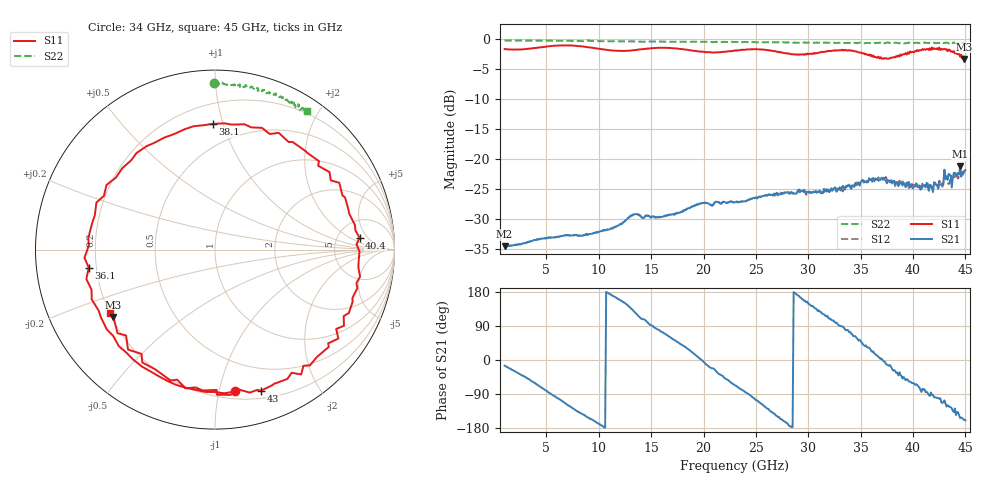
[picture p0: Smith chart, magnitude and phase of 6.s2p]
!Keysight Technologies,N5247B,MY61255062,A.19.80.06
!Date: Monday, May 18, 2026 11:55:22
!Correction: S11(Cdelta 2-Port  )
!S21(Cdelta 2-Port  )
!S12(Cdelta 2-Port  )
!S22(Cdelta 2-Port  )
!S2P File: Measurements: S11, S21, S12, S22:
# Hz S  dB  R 50
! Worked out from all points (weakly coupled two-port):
!   441 points, 1 GHz to 45 GHz, reference 50 ohm
!   highest |S21| = -21.19 dB at 44.5 GHz (marker M1); lowest = -34.5 dB at 1 GHz (marker M2)
!   lowest |S11| = -3.4 dB at 44.9 GHz (marker M3), VSWR 5.24, Z = 10.4 - j14.5 ohm
!   |S11| at or under -10 dB: nowhere
!   |S22| runs from -0.8 to -0.3 dB; largest |S21 - S12| = 0.021
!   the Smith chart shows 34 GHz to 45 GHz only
!   S11 on the Smith chart (normalised r, x): 34 GHz: 0.26, -1.12; 36.1 GHz: 0.17, -0.07; 38.1 GHz: 0.34, +0.92; 40.4 GHz: 8.21, +3.15; 43 GHz: 0.27, -1.34; 45 GHz: 0.20, -0.27
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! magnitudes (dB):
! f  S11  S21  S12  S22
! 1 GHz  -1.7  -34.5  -34.4  -0.3
! 6.8 GHz  -1.1  -32.6  -32.7  -0.3
! 8.4 GHz  -1.3  -32.8  -32.6  -0.4
! 11.5 GHz  -2.0  -31.3  -31.3  -0.4
! 13.3 GHz  -1.9  -29.2  -29.2  -0.4
! 15.7 GHz  -1.5  -29.6  -29.7  -0.4
! 19.9 GHz  -2.1  -27.3  -27.3  -0.5
! 23 GHz  -2.0  -27.1  -27.1  -0.5
! 25.3 GHz  -1.7  -26.2  -26.3  -0.5
! 27.9 GHz  -2.4  -25.5  -25.4  -0.6
! 30.4 GHz  -2.4  -25.5  -25.5  -0.6
! 34 GHz  -2.0  -24.7  -24.5  -0.7
! 36.1 GHz  -3.0  -23.3  -23.8  -0.7
! 37.7 GHz  -3.3  -23.5  -23.4  -0.6
! 38.1 GHz  -3.1  -23.8  -23.5  -0.7
! 40.4 GHz  -1.8  -24.3  -24.6  -0.6
! 41.7 GHz  -1.9  -24.3  -24.5  -0.7
! 42.6 GHz  -1.8  -24.2  -23.8  -0.7
! 43 GHz  -1.7  -21.7  -22.7  -0.7
! 44.5 GHz  -3.0  -21.2  -22.9  -0.7
! 44.9 GHz  -3.4  -22.0  -21.9  -0.7
! 45 GHz  -3.3  -21.8  -22.0  -0.7
